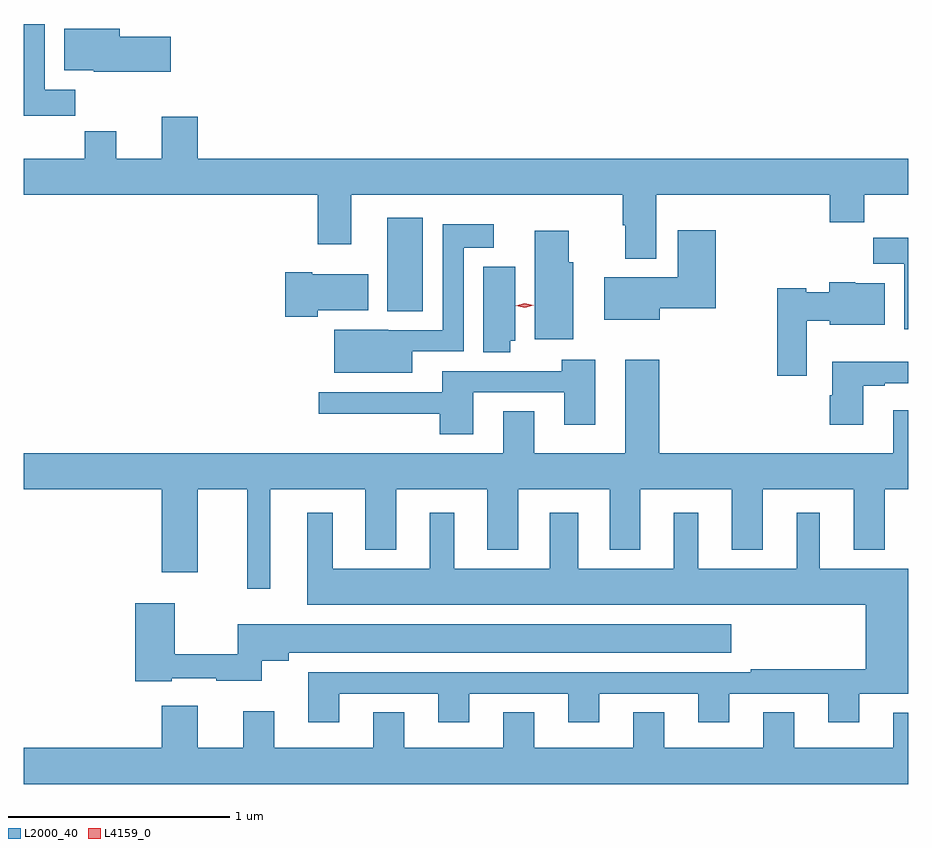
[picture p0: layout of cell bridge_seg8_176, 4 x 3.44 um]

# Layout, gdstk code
import gdstk
lib = gdstk.Library(unit=1e-6, precision=1e-09)
def R(c, l, rs):  # rectangles x0, y0, x1, y1
    for r in rs: c.add(gdstk.rectangle(r[:2], r[2:], *l))
def P(c, l, *ps):  # polygons
    for p in ps: c.add(gdstk.Polygon(p, *l))
L2000_40 = (2000, 40)
L4159_0 = (4159, 0)

bridge_seg8_176 = lib.new_cell('bridge_seg8_176')
R(bridge_seg8_176, L2000_40, [(441.752,1111.979,441.913,1112.401)])
P(bridge_seg8_176, L2000_40, [(440.342,1112.98),(440.203,1112.98),(440.203,1113.277),(440.108,1113.277),(440.108,1112.862),(440.342,1112.862)],
  [(440.773,1113.22),(440.542,1113.22),(440.542,1113.256),(440.291,1113.256),(440.291,1113.068),(440.424,1113.068),(440.424,1113.062),(440.773,1113.062)],
  [(442.969,1112.504),(443.753,1112.504),(443.753,1112.38),(443.909,1112.38),(443.909,1112.504),(444.108,1112.504),(444.108,1112.668),(440.896,1112.668),(440.896,1112.857),(440.732,1112.857),(440.732,1112.668),(440.527,1112.668),(440.527,1112.792),(440.383,1112.792),(440.383,1112.668),(440.108,1112.668),(440.108,1112.504),(441.437,1112.504),(441.437,1112.28),(441.589,1112.28),(441.589,1112.504),(442.817,1112.504),(442.817,1112.366),(442.829,1112.366),(442.829,1112.216),(442.969,1112.216)],
  [(441.865,1111.797),(442.098,1111.797),(442.098,1112.264),(442.234,1112.264),(442.234,1112.371),(442.002,1112.371),(442.002,1111.893),(441.756,1111.893),(441.756,1111.894),(441.512,1111.894),(441.512,1111.7),(441.865,1111.7)],
  [(442.984,1111.991),(443.237,1111.991),(443.237,1112.344),(443.066,1112.344),(443.066,1112.131),(442.733,1112.131),(442.733,1111.94),(442.984,1111.94)],
  [(442.594,1112.199),(442.573,1112.199),(442.573,1112.341),(442.418,1112.341),(442.418,1111.851),(442.594,1111.851)],
  [(444.108,1112.311),(443.95,1112.311),(443.95,1112.192),(444.089,1112.192),(444.089,1111.896),(444.108,1111.896)],
  [(442.309,1111.845),(442.33,1111.845),(442.33,1112.179),(442.187,1112.179),(442.187,1111.792),(442.309,1111.792)],
  [(441.438,1111.982),(441.667,1111.982),(441.667,1112.146),(441.412,1112.146),(441.412,1112.154),(441.29,1112.154),(441.29,1111.952),(441.438,1111.952)],
  [(443.65,1111.934),(443.754,1111.934),(443.754,1111.916),(444.001,1111.916),(444.001,1112.104),(443.868,1112.104),(443.868,1112.11),(443.75,1112.11),(443.75,1112.064),(443.646,1112.064),(443.646,1112.082),(443.516,1112.082),(443.516,1111.686),(443.65,1111.686)],
  [(442.829,1111.336),(442.417,1111.336),(442.417,1111.526),(442.277,1111.526),(442.277,1111.336),(440.108,1111.336),(440.108,1111.172),(440.732,1111.172),(440.732,1110.798),(440.896,1110.798),(440.896,1111.172),(441.119,1111.172),(441.119,1110.723),(441.223,1110.723),(441.223,1111.172),(441.653,1111.172),(441.653,1110.899),(441.793,1110.899),(441.793,1111.172),(442.205,1111.172),(442.205,1110.899),(442.345,1110.899),(442.345,1111.172),(442.757,1111.172),(442.757,1110.899),(442.897,1110.899),(442.897,1111.172),(443.309,1111.172),(443.309,1110.899),(443.449,1110.899),(443.449,1111.172),(443.861,1111.172),(443.861,1110.899),(444.001,1110.899),(444.001,1111.172),(444.108,1111.172),(444.108,1111.531),(444.041,1111.531),(444.041,1111.336),(442.982,1111.336),(442.982,1111.759),(442.829,1111.759)],
  [(442.141,1111.611),(442.553,1111.611),(442.553,1111.464),(442.693,1111.464),(442.693,1111.759),(442.541,1111.759),(442.541,1111.707),(442.001,1111.707),(442.001,1111.611),(441.441,1111.611),(441.441,1111.514),(441.989,1111.514),(441.989,1111.422),(442.141,1111.422)],
  [(443.905,1111.641),(444.001,1111.641),(444.001,1111.653),(444.108,1111.653),(444.108,1111.75),(443.765,1111.75),(443.765,1111.598),(443.753,1111.598),(443.753,1111.464),(443.905,1111.464)],
  [(441.535,1110.249),(441.983,1110.249),(441.983,1110.12),(442.123,1110.12),(442.123,1110.249),(442.571,1110.249),(442.571,1110.12),(442.711,1110.12),(442.711,1110.249),(443.159,1110.249),(443.159,1110.12),(443.299,1110.12),(443.299,1110.249),(443.747,1110.249),(443.747,1110.12),(443.887,1110.12),(443.887,1110.248),(444.108,1110.248),(444.108,1110.814),(443.707,1110.814),(443.707,1111.066),(443.603,1111.066),(443.603,1110.814),(443.158,1110.814),(443.158,1111.066),(443.048,1111.066),(443.048,1110.814),(442.615,1110.814),(442.615,1111.066),(442.487,1111.066),(442.487,1110.814),(442.054,1110.814),(442.054,1111.066),(441.944,1111.066),(441.944,1110.814),(441.505,1110.814),(441.505,1111.066),(441.389,1111.066),(441.389,1110.65),(443.915,1110.65),(443.915,1110.358),(443.395,1110.358),(443.395,1110.345),(441.395,1110.345),(441.395,1110.12),(441.535,1110.12)],
  [(440.778,1110.318),(440.979,1110.318),(440.979,1110.306),(441.185,1110.306),(441.185,1110.398),(441.307,1110.398),(441.307,1110.434),(443.308,1110.434),(443.308,1110.562),(441.075,1110.562),(441.075,1110.427),(440.79,1110.427),(440.79,1110.658),(440.612,1110.658),(440.612,1110.305),(440.778,1110.305)],
  [(444.108,1110.163),(444.041,1110.163),(444.041,1110.004),(443.593,1110.004),(443.593,1110.164),(443.453,1110.164),(443.453,1110.004),(443.005,1110.004),(443.005,1110.164),(442.865,1110.164),(442.865,1110.004),(442.417,1110.004),(442.417,1110.164),(442.277,1110.164),(442.277,1110.004),(441.829,1110.004),(441.829,1110.164),(441.689,1110.164),(441.689,1110.004),(441.241,1110.004),(441.241,1110.169),(441.101,1110.169),(441.101,1110.004),(440.896,1110.004),(440.896,1110.193),(440.732,1110.193),(440.732,1110.004),(440.108,1110.004),(440.108,1109.84),(444.108,1109.84)])
P(bridge_seg8_176, L4159_0, [(442.374,1111.993),(442.333,1112.003),(442.333,1112.003),(442.333,1112.003),(442.373,1112.013),(442.414,1112.004),(442.414,1112.004),(442.414,1112.004)])

lib.write_gds('bridge_seg8_176.gds')
